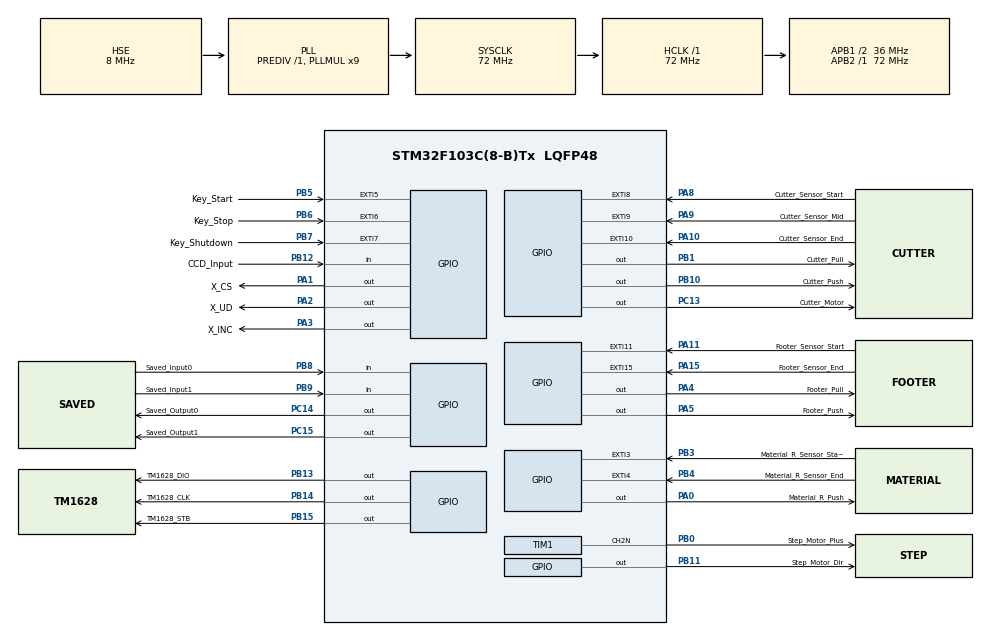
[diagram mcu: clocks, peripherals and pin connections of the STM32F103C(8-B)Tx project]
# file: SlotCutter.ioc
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FREERTOS.BinarySemaphores01=CCD_Binary,Dynamic,NULL;Key_Sensor_Binary,Dynamic,NULL;Key_KeyTask_Binary,Dynamic,NULL
FREERTOS.Mutexes01=CCD_Mutex,Dynamic,NULL
FREERTOS.Tasks01=LEDTask,0,128,StartLEDTask,Default,NULL,Dynamic,NULL,NULL;keyTask,-3,128,StartKeyTask,Default,NULL,Dynamic,NULL,NULL;stepMotoTask,-3,128,StartStepMotoTask,Default,NULL,Dynamic,NULL,NULL
Mcu.Family=STM32F1
Mcu.Name=STM32F103C(8-B)Tx
Mcu.Package=LQFP48
NVIC.EXTI15_10_IRQn=true\:5\:0\:false\:false\:true\:true\:true
NVIC.EXTI3_IRQn=true\:5\:0\:false\:false\:true\:true\:true
NVIC.EXTI4_IRQn=true\:5\:0\:false\:false\:true\:true\:true
NVIC.EXTI9_5_IRQn=true\:5\:0\:false\:false\:true\:true\:true
NVIC.PriorityGroup=NVIC_PRIORITYGROUP_4
NVIC.TIM1_CC_IRQn=true\:5\:0\:true\:false\:true\:true\:true
NVIC.TIM4_IRQn=true\:0\:0\:false\:false\:true\:false\:false
NVIC.TimeBase=TIM4_IRQn
NVIC.TimeBaseIP=TIM4
PA0-WKUP.GPIO_Label=Material_R_Push
PA0-WKUP.PinState=GPIO_PIN_RESET
PA0-WKUP.Signal=GPIO_Output
PA1.GPIO_Label=X_CS
PA1.Signal=GPIO_Output
PA10.GPIO_Label=Cutter_Sensor_End
PA10.GPIO_ModeDefaultEXTI=GPIO_MODE_IT_FALLING
PA10.GPIO_PuPd=GPIO_PULLUP
PA10.Signal=GPXTI10
PA11.GPIO_Label=Footer_Sensor_Start
PA11.GPIO_ModeDefaultEXTI=GPIO_MODE_IT_FALLING
PA11.GPIO_PuPd=GPIO_PULLUP
PA11.Signal=GPXTI11
PA13.Mode=Serial_Wire
PA13.Signal=SYS_JTMS-SWDIO
PA14.Mode=Serial_Wire
PA14.Signal=SYS_JTCK-SWCLK
PA15.GPIO_Label=Footer_Sensor_End
PA15.GPIO_ModeDefaultEXTI=GPIO_MODE_IT_FALLING
PA15.GPIO_PuPd=GPIO_PULLUP
PA15.Signal=GPXTI15
PA2.GPIO_Label=X_UD
PA2.Signal=GPIO_Output
PA3.GPIO_Label=X_INC
PA3.Signal=GPIO_Output
PA4.GPIO_Label=Footer_Pull
PA4.PinState=GPIO_PIN_RESET
PA4.Signal=GPIO_Output
PA5.GPIO_Label=Footer_Push
PA5.PinState=GPIO_PIN_RESET
PA5.Signal=GPIO_Output
PA8.GPIO_Label=Cutter_Sensor_Start
PA8.GPIO_ModeDefaultEXTI=GPIO_MODE_IT_FALLING
PA8.GPIO_PuPd=GPIO_PULLUP
PA8.Signal=GPXTI8
PA9.GPIO_Label=Cutter_Sensor_Mid
PA9.GPIO_PuPd=GPIO_PULLUP
PA9.Signal=GPXTI9
PB0.GPIO_Label=Step_Motor_Plus
PB0.Mode=Output Compare2 CH2N
PB0.Signal=TIM1_CH2N
PB1.GPIO_Label=Cutter_Pull
PB1.PinState=GPIO_PIN_RESET
PB1.Signal=GPIO_Output
PB10.GPIO_Label=Cutter_Push
PB10.Signal=GPIO_Output
PB11.GPIO_Label=Step_Motor_Dir
PB11.Signal=GPIO_Output
PB12.GPIO_Label=CCD_Input
PB12.GPIO_PuPd=GPIO_PULLUP
PB12.Signal=GPIO_Input
PB13.GPIO_Label=TM1628_DIO
PB13.Signal=GPIO_Output
PB14.GPIO_Label=TM1628_CLK
PB14.Signal=GPIO_Output
PB15.GPIO_Label=TM1628_STB
PB15.Signal=GPIO_Output
PB3.GPIO_Label=Material_R_Sensor_Start
PB3.GPIO_ModeDefaultEXTI=GPIO_MODE_IT_FALLING
PB3.GPIO_PuPd=GPIO_PULLUP
PB3.Signal=GPXTI3
PB4.GPIO_Label=Material_R_Sensor_End
PB4.GPIO_ModeDefaultEXTI=GPIO_MODE_IT_FALLING
PB4.GPIO_PuPd=GPIO_PULLUP
PB4.Signal=GPXTI4
PB5.GPIO_Label=Key_Start
PB5.GPIO_ModeDefaultEXTI=GPIO_MODE_IT_FALLING
PB5.GPIO_PuPd=GPIO_PULLUP
PB5.Signal=GPXTI5
PB6.GPIO_Label=Key_Stop
PB6.GPIO_ModeDefaultEXTI=GPIO_MODE_IT_FALLING
PB6.GPIO_PuPd=GPIO_PULLUP
PB6.Signal=GPXTI6
PB7.GPIO_Label=Key_Shutdown
PB7.GPIO_ModeDefaultEXTI=GPIO_MODE_IT_FALLING
PB7.GPIO_PuPd=GPIO_PULLUP
PB7.Signal=GPXTI7
PB8.GPIO_Label=Saved_Input0
PB8.Signal=GPIO_Input
PB9.GPIO_Label=Saved_Input1
PB9.Signal=GPIO_Input
PC13-TAMPER-RTC.GPIO_Label=Cutter_Motor
PC13-TAMPER-RTC.Signal=GPIO_Output
PC14-OSC32_IN.GPIO_Label=Saved_Output0
PC14-OSC32_IN.Signal=GPIO_Output
PC15-OSC32_OUT.GPIO_Label=Saved_Output1
PC15-OSC32_OUT.Signal=GPIO_Output
PD0-OSC_IN.Mode=HSE-External-Oscillator
PD0-OSC_IN.Signal=RCC_OSC_IN
PD1-OSC_OUT.Mode=HSE-External-Oscillator
PD1-OSC_OUT.Signal=RCC_OSC_OUT
ProjectManager.HeapSize=0x200
ProjectManager.StackSize=0x400
ProjectManager.TargetToolchain=MDK-ARM V5
RCC.AHBFreq_Value=72000000
RCC.APB1CLKDivider=RCC_HCLK_DIV2
RCC.APB1Freq_Value=36000000
RCC.APB1TimFreq_Value=72000000
RCC.APB2Freq_Value=72000000
RCC.APB2TimFreq_Value=72000000
RCC.HCLKFreq_Value=72000000
RCC.PLLMUL=RCC_PLL_MUL9
RCC.PLLSourceVirtual=RCC_PLLSOURCE_HSE
RCC.SYSCLKFreq_VALUE=72000000
RCC.SYSCLKSource=RCC_SYSCLKSOURCE_PLLCLK
RCC.USBFreq_Value=72000000
TIM1.Channel-Output\ Compare2\ CH2N=TIM_CHANNEL_2
TIM1.OCMode_2=TIM_OCMODE_TOGGLE
TIM1.Period=0xffff
TIM1.Prescaler=71
VP_FREERTOS_VS_ENABLE.Mode=Enabled
VP_SYS_VS_tim4.Mode=TIM4
VP_TIM1_VS_ClockSourceINT.Mode=Internal
board=SlotCutter

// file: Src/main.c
/**
  ******************************************************************************
  * @file           : main.c
  * @brief          : Main program body
  ******************************************************************************
  * This notice applies to any and all portions of this file
  * that are not between comment pairs USER CODE BEGIN and
  * USER CODE END. Other portions of this file, whether
  * inserted by the user or by software development tools
  * are owned by their respective copyright owners.
  *
  * Copyright (c) 2018 STMicroelectronics International N.V.
  * All rights reserved.
  *
  * Redistribution and use in source and binary forms, with or without
  * modification, are permitted, provided that the following conditions are met:
  *
  * 1. Redistribution of source code must retain the above copyright notice,
  *    this list of conditions and the following disclaimer.
  * 2. Redistributions in binary form must reproduce the above copyright notice,
  *    this list of conditions and the following disclaimer in the documentation
  *    and/or other materials provided with the distribution.
  * 3. Neither the name of STMicroelectronics nor the names of other
  *    contributors to this software may be used to endorse or promote products
  *    derived from this software without specific written permission.
  * 4. This software, including modifications and/or derivative works of this
  *    software, must execute solely and exclusively on microcontroller or
  *    microprocessor devices manufactured by or for STMicroelectronics.
  * 5. Redistribution and use of this software other than as permitted under
  *    this license is void and will automatically terminate your rights under
  *    this license.
  *
  * THIS SOFTWARE IS PROVIDED BY STMICROELECTRONICS AND CONTRIBUTORS "AS IS"
  * AND ANY EXPRESS, IMPLIED OR STATUTORY WARRANTIES, INCLUDING, BUT NOT
  * LIMITED TO, THE IMPLIED WARRANTIES OF MERCHANTABILITY, FITNESS FOR A
  * PARTICULAR PURPOSE AND NON-INFRINGEMENT OF THIRD PARTY INTELLECTUAL PROPERTY
  * RIGHTS ARE DISCLAIMED TO THE FULLEST EXTENT PERMITTED BY LAW. IN NO EVENT
  * SHALL STMICROELECTRONICS OR CONTRIBUTORS BE LIABLE FOR ANY DIRECT, INDIRECT,
  * INCIDENTAL, SPECIAL, EXEMPLARY, OR CONSEQUENTIAL DAMAGES (INCLUDING, BUT NOT
  * LIMITED TO, PROCUREMENT OF SUBSTITUTE GOODS OR SERVICES; LOSS OF USE, DATA,
  * OR PROFITS; OR BUSINESS INTERRUPTION) HOWEVER CAUSED AND ON ANY THEORY OF
  * LIABILITY, WHETHER IN CONTRACT, STRICT LIABILITY, OR TORT (INCLUDING
  * NEGLIGENCE OR OTHERWISE) ARISING IN ANY WAY OUT OF THE USE OF THIS SOFTWARE,
  * EVEN IF ADVISED OF THE POSSIBILITY OF SUCH DAMAGE.
  *
  ******************************************************************************
  */
#include "main.h"
#include "stm32f1xx_hal.h"
#include "cmsis_os.h"
#include "tim.h"
#include "gpio.h"

/* USER CODE BEGIN Includes */
#include "comm.h"
#include "HT1628.h"
/* USER CODE END Includes */

/* USER CODE BEGIN PV */
/* Private variables ---------------------------------------------------------*/
//��������
union SettingUnion Setting={0};

/* USER CODE END PV */

void SystemClock_Config(void);
void MX_FREERTOS_Init(void);

/* USER CODE BEGIN PFP */
/* Private function prototypes -----------------------------------------------*/

/* USER CODE END PFP */

int main(void)
{

  /* MCU Configuration----------------------------------------------------------*/

  /* Reset of all peripherals, Initializes the Flash interface and the Systick. */
  HAL_Init();

  /* Configure the system clock */
  SystemClock_Config();

  /* Initialize all configured peripherals */
  MX_GPIO_Init();
  MX_TIM1_Init();
  /* USER CODE BEGIN 2 */
	lint_val_display();
	X9C103_Init(1);
  /* USER CODE END 2 */

  /* Call init function for freertos objects (in freertos.c) */
  MX_FREERTOS_Init();

  /* Start scheduler */
  osKernelStart();

  /* We should never get here as control is now taken by the scheduler */

  /* Infinite loop */
  while (1)
  {

  }

}

void SystemClock_Config(void)
{

  RCC_OscInitTypeDef RCC_OscInitStruct;
  RCC_ClkInitTypeDef RCC_ClkInitStruct;

    /**Initializes the CPU, AHB and APB busses clocks
    */
  RCC_OscInitStruct.OscillatorType = RCC_OSCILLATORTYPE_HSE;
  RCC_OscInitStruct.HSEState = RCC_HSE_ON;
  RCC_OscInitStruct.HSEPredivValue = RCC_HSE_PREDIV_DIV1;
  RCC_OscInitStruct.HSIState = RCC_HSI_ON;
  RCC_OscInitStruct.PLL.PLLState = RCC_PLL_ON;
  RCC_OscInitStruct.PLL.PLLSource = RCC_PLLSOURCE_HSE;
  RCC_OscInitStruct.PLL.PLLMUL = RCC_PLL_MUL9;
  if (HAL_RCC_OscConfig(&RCC_OscInitStruct) != HAL_OK)
  {
    _Error_Handler(__FILE__, __LINE__);
  }

    /**Initializes the CPU, AHB and APB busses clocks
    */
  RCC_ClkInitStruct.ClockType = RCC_CLOCKTYPE_HCLK|RCC_CLOCKTYPE_SYSCLK
                              |RCC_CLOCKTYPE_PCLK1|RCC_CLOCKTYPE_PCLK2;
  RCC_ClkInitStruct.SYSCLKSource = RCC_SYSCLKSOURCE_PLLCLK;
  RCC_ClkInitStruct.AHBCLKDivider = RCC_SYSCLK_DIV1;
  RCC_ClkInitStruct.APB1CLKDivider = RCC_HCLK_DIV2;
  RCC_ClkInitStruct.APB2CLKDivider = RCC_HCLK_DIV1;

  if (HAL_RCC_ClockConfig(&RCC_ClkInitStruct, FLASH_LATENCY_2) != HAL_OK)
  {
    _Error_Handler(__FILE__, __LINE__);
  }

    /**Configure the Systick interrupt time
    */
  HAL_SYSTICK_Config(HAL_RCC_GetHCLKFreq()/1000);

    /**Configure the Systick
    */
  HAL_SYSTICK_CLKSourceConfig(SYSTICK_CLKSOURCE_HCLK);

  /* SysTick_IRQn interrupt configuration */
  HAL_NVIC_SetPriority(SysTick_IRQn, 15, 0);
}

void HAL_TIM_PeriodElapsedCallback(TIM_HandleTypeDef *htim)
{
  if (htim->Instance == TIM4) {
    HAL_IncTick();
  }
}

void _Error_Handler(char *file, int line)
{
  while(1)
  {
  }
}

/************************ (C) COPYRIGHT STMicroelectronics *****END OF FILE****/

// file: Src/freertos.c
/**
  ******************************************************************************
  * File Name          : freertos.c
  * Description        : Code for freertos applications
  ******************************************************************************
  * This notice applies to any and all portions of this file
  * that are not between comment pairs USER CODE BEGIN and
  * USER CODE END. Other portions of this file, whether
  * inserted by the user or by software development tools
  * are owned by their respective copyright owners.
  *
  * Copyright (c) 2018 STMicroelectronics International N.V.
  * All rights reserved.
  *
  * Redistribution and use in source and binary forms, with or without
  * modification, are permitted, provided that the following conditions are met:
  *
  * 1. Redistribution of source code must retain the above copyright notice,
  *    this list of conditions and the following disclaimer.
  * 2. Redistributions in binary form must reproduce the above copyright notice,
  *    this list of conditions and the following disclaimer in the documentation
  *    and/or other materials provided with the distribution.
  * 3. Neither the name of STMicroelectronics nor the names of other
  *    contributors to this software may be used to endorse or promote products
  *    derived from this software without specific written permission.
  * 4. This software, including modifications and/or derivative works of this
  *    software, must execute solely and exclusively on microcontroller or
  *    microprocessor devices manufactured by or for STMicroelectronics.
  * 5. Redistribution and use of this software other than as permitted under
  *    this license is void and will automatically terminate your rights under
  *    this license.
  *
  * THIS SOFTWARE IS PROVIDED BY STMICROELECTRONICS AND CONTRIBUTORS "AS IS"
  * AND ANY EXPRESS, IMPLIED OR STATUTORY WARRANTIES, INCLUDING, BUT NOT
  * LIMITED TO, THE IMPLIED WARRANTIES OF MERCHANTABILITY, FITNESS FOR A
  * PARTICULAR PURPOSE AND NON-INFRINGEMENT OF THIRD PARTY INTELLECTUAL PROPERTY
  * RIGHTS ARE DISCLAIMED TO THE FULLEST EXTENT PERMITTED BY LAW. IN NO EVENT
  * SHALL STMICROELECTRONICS OR CONTRIBUTORS BE LIABLE FOR ANY DIRECT, INDIRECT,
  * INCIDENTAL, SPECIAL, EXEMPLARY, OR CONSEQUENTIAL DAMAGES (INCLUDING, BUT NOT
  * LIMITED TO, PROCUREMENT OF SUBSTITUTE GOODS OR SERVICES; LOSS OF USE, DATA,
  * OR PROFITS; OR BUSINESS INTERRUPTION) HOWEVER CAUSED AND ON ANY THEORY OF
  * LIABILITY, WHETHER IN CONTRACT, STRICT LIABILITY, OR TORT (INCLUDING
  * NEGLIGENCE OR OTHERWISE) ARISING IN ANY WAY OUT OF THE USE OF THIS SOFTWARE,
  * EVEN IF ADVISED OF THE POSSIBILITY OF SUCH DAMAGE.
  *
  ******************************************************************************
  */

#include "FreeRTOS.h"
#include "task.h"
#include "cmsis_os.h"

/* USER CODE BEGIN Includes */
#include "HT1628.h"
#include "comm.h"
#include "key.h"
#include "stm_flash.h"
#include "tim.h"
#include "gpio.h"
#include "stepmoto.h"
/* USER CODE END Includes */

osThreadId LEDTaskHandle;
osThreadId keyTaskHandle;
osThreadId stepMotoTaskHandle;
osMutexId CCD_MutexHandle;
osSemaphoreId CCD_BinaryHandle;
osSemaphoreId Key_Sensor_BinaryHandle;
osSemaphoreId Key_KeyTask_BinaryHandle;

/* USER CODE BEGIN Variables */
osThreadId backTask1Handle;
osThreadId backTask2Handle;
osThreadId keyTaskHandle;
uint8_t moto_msg[2];
uint16_t motoTestPluse=0;
KEY_MSG_t keyGet ;
QueueHandle_t led_key_queue;
QueueHandle_t led_moto_queue;
uint8_t ledTaskStatus = STATUS_LED_INIT;
uint16_t mica = 0,cu = 0,mica_last=0;
uint32_t pluse_last;
uint8_t tempj=0,test_flag=0;
uint8_t pause_flag;
uint8_t backTask1Finish=0;
float per_pluse= 0.0;
uint8_t backTask2Finish=0;
uint8_t footer_flag=0,stop_flag=0;
uint8_t  feed_flag=0;
	uint8_t slot_count=0;
/* USER CODE END Variables */

void StartLEDTask(void const * argument);
void StartKeyTask(void const * argument);
void StartStepMotoTask(void const * argument);

void MX_FREERTOS_Init(void); /* (MISRA C 2004 rule 8.1) */

/* USER CODE BEGIN FunctionPrototypes */

void backTake1(void const * argument);
void backTake2(void const * argument);

void para_to_set(void);
void arg_read(void);
	//???????
	uint16_t decNumBit(uint16_t num,uint8_t bit);
	uint16_t incNumBit(uint16_t num,uint8_t bit);
	uint8_t wait_input(GPIO_TypeDef* GPIOx, uint16_t GPIO_Pin, GPIO_PinState PinState);
	uint8_t check_pass_onCut(uint16_t width);
		uint8_t check_pass_preCut(uint16_t width);
	uint16_t absi(int16_t i);
/* USER CODE END FunctionPrototypes */

/* Hook prototypes */

/* Init FreeRTOS */

void MX_FREERTOS_Init(void) {

  /* Create the mutex(es) */
  /* definition and creation of CCD_Mutex */
  osMutexDef(CCD_Mutex);
  CCD_MutexHandle = osMutexCreate(osMutex(CCD_Mutex));

  /* Create the semaphores(s) */
  /* definition and creation of CCD_Binary */
  osSemaphoreDef(CCD_Binary);
  CCD_BinaryHandle = osSemaphoreCreate(osSemaphore(CCD_Binary), 1);

  /* definition and creation of Key_Sensor_Binary */
  osSemaphoreDef(Key_Sensor_Binary);
  Key_Sensor_BinaryHandle = osSemaphoreCreate(osSemaphore(Key_Sensor_Binary), 1);

  /* definition and creation of Key_KeyTask_Binary */
  osSemaphoreDef(Key_KeyTask_Binary);
  Key_KeyTask_BinaryHandle = osSemaphoreCreate(osSemaphore(Key_KeyTask_Binary), 1);

  /* Create the thread(s) */
  /* definition and creation of LEDTask */
  osThreadDef(LEDTask, StartLEDTask, osPriorityNormal, 0, 128);
  LEDTaskHandle = osThreadCreate(osThread(LEDTask), NULL);

  /* definition and creation of keyTask */
  osThreadDef(keyTask, StartKeyTask, osPriorityIdle, 0, 32);
  keyTaskHandle = osThreadCreate(osThread(keyTask), NULL);

  /* definition and creation of stepMotoTask */
  osThreadDef(stepMotoTask, StartStepMotoTask, osPriorityIdle, 0, 32);
  stepMotoTaskHandle = osThreadCreate(osThread(stepMotoTask), NULL);

}

/* StartLEDTask function */
void StartLEDTask(void const * argument)
{

  /* USER CODE BEGIN StartLEDTask */

  /* Infinite loop */

	uint8_t funcNum = 0;
	uint8_t showIndex = 0;
	uint8_t lightFlag = 0;

	uint16_t temp_i = 0,temp_j_feed=0,temp_j = 0;
	uint32_t width = 0;

	lint_val_display();
	arg_read();
	led_key_queue= xQueueCreate(4, sizeof(KEY_MSG_t) );
	led_moto_queue= xQueueCreate(4, 2 );

  for(;;)
  {
	status_start:	switch(ledTaskStatus)
		{

			case STATUS_LED_INIT :
						clear();
						HT1621_dis_float(Setting.SettingStruct.slotNumber[INDEX_VALUE],0,Setting.SettingStruct.slotNumber[INDEX_SIZE],Setting.SettingStruct.slotNumber[INDEX_POINT]);
						HT1621_dis_float(Setting.SettingStruct.percentOfPassOnCut[INDEX_VALUE],3,Setting.SettingStruct.percentOfPassOnCut[INDEX_SIZE],Setting.SettingStruct.percentOfPassOnCut[INDEX_POINT]);
						display();
						ledTaskStatus = STATUS_LED_IDLE;
				break;
			case STATUS_LED_IDLE :
						osDelay(1);
					if(HAL_GPIO_ReadPin(Key_Start_GPIO_Port,Key_Start_Pin)==GPIO_PIN_RESET)
						{
							osDelay(10);
							if(HAL_GPIO_ReadPin(Key_Start_GPIO_Port,Key_Start_Pin)==GPIO_PIN_RESET)
							{
								 ledTaskStatus = STATUS_MOTO_INIT;test_flag = 0;
							}
						}
					if(xQueueReceive( led_key_queue,&keyGet,pdMS_TO_TICKS(1000) )==pdPASS)
						{
							if(keyGet.key == Key_START && keyGet.status == KEY_HOLD)
							{
								ledTaskStatus = STATUS_LED_MOD_PARA;
							}
							if(keyGet.key == Key_R && keyGet.status == KEY_HOLD)
							{
								ledTaskStatus = STATUS_FOOTER;
							}
							if(keyGet.key == Key_START && keyGet.status == KEY_UP)
							{
								//????
								 HT1621_dis_point(5,1);	display();
								 while(1)
								 {
									 xQueueReceive( led_key_queue,&keyGet,portMAX_DELAY);
									 if(keyGet.key == Key_FUN && keyGet.status == KEY_UP)
										{
											//??????2
											test_flag = 1;
											 switch(Setting.SettingStruct.millingMethod[INDEX_VALUE])
											 {
												 case 0:ledTaskStatus = STATUS_MOTO_RUN_MODE0;
													 break;
												 case 1:ledTaskStatus = STATUS_MOTO_RUN_MODE1;
													 break;
												 case 2:ledTaskStatus = STATUS_MOTO_RUN_MODE2;
													 break;
												 case 3:ledTaskStatus = STATUS_MOTO_RUN_MODE3;
													 break;
												 default:break;
											 }
											clear();
											slot_count =0;
											pause_flag=0;
											break;
										}
										if(keyGet.key == Key_R && keyGet.status == KEY_UP)
										{
											//??????1
											slot_count =0;
											pause_flag=0;
											ledTaskStatus = STATUS_MOTO_TEST2;
											startMoto(INT32_MAX,0,1);
											break;
										}
										else if(keyGet.key == Key_START && keyGet.status == KEY_UP)
										{
											HT1621_dis_point(5,0);display();
											break;
										}
								 }
							}

						}
				break;

			case STATUS_FOOTER :

						if(footer_flag==0)
						{
							footer_flag =1;
							HAL_GPIO_WritePin(Footer_Pull_GPIO_Port, Footer_Pull_Pin, GPIO_PIN_RESET);
							HAL_GPIO_WritePin(Footer_Push_GPIO_Port, Footer_Push_Pin, GPIO_PIN_SET);//	?????(A5??,A4??)
							osDelay(Setting.SettingStruct.footerOnTime[INDEX_VALUE]*100);
							HAL_GPIO_WritePin(Footer_Push_GPIO_Port, Footer_Push_Pin, GPIO_PIN_RESET);
						}
						else
						{
							footer_flag=0;
							HAL_GPIO_WritePin(Footer_Pull_GPIO_Port, Footer_Pull_Pin, GPIO_PIN_SET);
							HAL_GPIO_WritePin(Footer_Push_GPIO_Port, Footer_Push_Pin, GPIO_PIN_RESET);//	????(A4??,A5??)
							osDelay(Setting.SettingStruct.footerExitTime[INDEX_VALUE]*100);
							HAL_GPIO_WritePin(Footer_Pull_GPIO_Port, Footer_Pull_Pin, GPIO_PIN_RESET);
						}
						ledTaskStatus = STATUS_LED_IDLE;
				break;
			case STATUS_LED_MOD_PARA :
						if(xQueueReceive( led_key_queue,&keyGet,pdMS_TO_TICKS(300) )==pdPASS)
							{
								if(keyGet.status == KEY_UP)
								{
									switch(keyGet.key)
									{
										case Key_START:
											funcNum++;
											showIndex = 0;
											if(funcNum>=20)
											{
												funcNum = 0;
											}
											break;
										case Key_R:
											showIndex++;
											if(showIndex>=Setting.SettingArray[funcNum][INDEX_SIZE])
											{
												showIndex=Setting.SettingArray[funcNum][INDEX_SIZE]-1;
											}
											break;
										case Key_L:
											if(showIndex>0)
											{
												showIndex--;
											}
											else
											{
												showIndex = 0;
											}
											break;
										case Key_UP:
													Setting.SettingArray[funcNum][INDEX_VALUE]=incNumBit(Setting.SettingArray[funcNum][INDEX_VALUE],Setting.SettingArray[funcNum][INDEX_SIZE]-showIndex);
													if(Setting.SettingArray[funcNum][INDEX_VALUE]>Setting.SettingArray[funcNum][INDEX_MAX])
													{
														Setting.SettingArray[funcNum][INDEX_VALUE]=Setting.SettingArray[funcNum][INDEX_MAX];
													}
												break;
										case Key_DOWN:
													Setting.SettingArray[funcNum][INDEX_VALUE]=decNumBit(Setting.SettingArray[funcNum][INDEX_VALUE],Setting.SettingArray[funcNum][INDEX_SIZE]-showIndex);
													if(Setting.SettingArray[funcNum][INDEX_VALUE]<Setting.SettingArray[funcNum][INDEX_MIN])
															{
																Setting.SettingArray[funcNum][INDEX_VALUE]=Setting.SettingArray[funcNum][INDEX_MIN];
															}
											break;
										case Key_STOP:
													ledTaskStatus = STATUS_LED_INIT;
													Setting.SettingStruct.micaPreTrace[INDEX_MAX] = (Setting.SettingStruct.plusNumberOfMoto[INDEX_VALUE]/Setting.SettingStruct.slotNumber[INDEX_VALUE])-
														Setting.SettingStruct.micaWidth[INDEX_VALUE];
													STMFLASH_Write( FLASH_BASE+60*1024, (uint16_t *) &Setting, sizeof(Setting)/2 );
													para_to_set();
												break;
									}
								}
							}
							clear();
							HT1621_dis_num(5,funcNum);
							if(funcNum == 0x0f)//????????
							{
								if(Setting.SettingStruct.compareThreshold[INDEX_VALUE]>=50)
								{
										HT1621_dis_num(0,SMG_NONE);
										HT1621_dis_float(Setting.SettingStruct.compareThreshold[INDEX_VALUE]-50,1,Setting.SettingStruct.compareThreshold[INDEX_SIZE],Setting.SettingStruct.compareThreshold[INDEX_POINT]);
								}
								else
								{
										HT1621_dis_num(0,SMG_NEG);
										HT1621_dis_float(50 - Setting.SettingStruct.compareThreshold[INDEX_VALUE],1,Setting.SettingStruct.compareThreshold[INDEX_SIZE],Setting.SettingStruct.compareThreshold[INDEX_POINT]);
								}
							}
							else
							{
									HT1621_dis_float(Setting.SettingArray[funcNum][INDEX_VALUE],0,Setting.SettingArray[funcNum][INDEX_SIZE],Setting.SettingArray[funcNum][INDEX_POINT]);
							}
							if(lightFlag == 0)
							{
								if(funcNum == 0x0f)
									HT1621_dis_num(showIndex+1,SMG_NONE);
								else
									HT1621_dis_num(showIndex,SMG_NONE);
								lightFlag = 1;
							}
							else
							{
								lightFlag = 0;
							}
							display();
				break;
			case STATUS_MOTO_INIT:
						 pause_flag=0;
						 slot_count=0;
							stop_flag=0;
						HAL_GPIO_WritePin(Cutter_Pull_GPIO_Port, Cutter_Pull_Pin, GPIO_PIN_SET);//(B10����?��??B1��1?��)
						if(footer_flag==0)
							{
							 footer_flag=1;
							 HAL_GPIO_WritePin(Footer_Pull_GPIO_Port, Footer_Pull_Pin, GPIO_PIN_RESET);
							 HAL_GPIO_WritePin(Footer_Push_GPIO_Port, Footer_Push_Pin, GPIO_PIN_SET);//	?????(A5??,A4??)
							}
							osDelay(Setting.SettingStruct.footerOnTime[INDEX_VALUE]*100);
							{

								//????
								if(pause_flag == 1)
								{
								  osDelay(100);
									while(1)
									{ xQueueReset(led_key_queue);
										xQueueReceive( led_key_queue,&keyGet,portMAX_DELAY );
										if(keyGet.key == Key_FUN && keyGet.status == KEY_UP)
											{	pause_flag =0;
												break;
											}
									}
								}
								//??????
								//osDelay(Setting.SettingStruct.feedDelayTime[INDEX_VALUE]*10);//????????
							 switch(Setting.SettingStruct.millingMethod[INDEX_VALUE])
							 {
								 case 0:ledTaskStatus = STATUS_MOTO_RUN_MODE0;
									 break;
								 case 1:ledTaskStatus = STATUS_MOTO_RUN_MODE1;
									 break;
								 case 2:ledTaskStatus = STATUS_MOTO_RUN_MODE2;
									 break;
								 case 3:ledTaskStatus = STATUS_MOTO_RUN_MODE3;
									 break;
								 default:break;
							 }
						 }
				break;
			case STATUS_MOTO_RUN_MODE0:
										width =0 ;
										mica=0;
										cu=0;
										startMoto(65534,0,1);
										if(wait_input(CCD_Input_GPIO_Port, CCD_Input_Pin, GPIO_PIN_SET)){goto status_start;};//??????(B12)
										if(test_flag==0)
										{
										 for(temp_i = 0 ,slot_count=0;slot_count<Setting.SettingStruct.slotNumber[INDEX_VALUE];slot_count++)
											{
												startMoto(65534,0,1);
												if(wait_input(CCD_Input_GPIO_Port, CCD_Input_Pin, GPIO_PIN_RESET)){goto status_start;};//??????(B12)
												width = (65534-stopMoto());
												startMoto(65534,0,1);
												while(get_moto_pluse_has()<Setting.SettingStruct.micaPreTrace[INDEX_VALUE]){osDelay(1);};//??????
												if(wait_input(CCD_Input_GPIO_Port, CCD_Input_Pin, GPIO_PIN_SET)){goto status_start;};//??????(B12)

												 if(check_pass_preCut(width)!=1)
													{
														temp_i = 0;
													}
													else
													{
														temp_i++;
														if(temp_i>=3)
														{
																break;
														}
													}
												//????
												if(pause_flag == 1)
												{
													osDelay(100);
													while(1)
													{ xQueueReset(led_key_queue);
														xQueueReceive( led_key_queue,&keyGet,portMAX_DELAY );
														if(keyGet.key == Key_FUN && keyGet.status == KEY_UP)
															{pause_flag =0;
																break;
															}

													}
												}
												//??????
											}
											if(slot_count == Setting.SettingStruct.slotNumber[INDEX_VALUE])
											{
												stopMoto();
												ledTaskStatus = STATUS_MOTO_ERR;
											}

										}
											slot_count =0 ;
											cut_nextmode4:
											//????
											if(pause_flag == 1)
												{
													osDelay(100);
													while(1)
													{ xQueueReset(led_key_queue);
														xQueueReceive( led_key_queue,&keyGet,portMAX_DELAY );
														if(keyGet.key == Key_FUN && keyGet.status == KEY_UP)
															{
																pause_flag =0;
																break;
															}
														if(keyGet.key == Key_STOP && keyGet.status == KEY_DOWN&&test_flag==1)
														{
															goto stop;
														}
													}
												}
												//??????

										HT1621_dis_float((uint32_t)absi(mica-mica_last) *100/(mica),3,3,0);mica_last = mica;
												//??????
											if(check_pass_onCut(width)==1)
												{
													//?
													//????
												 	runMoto(Setting.SettingStruct.motoCompensation[INDEX_VALUE],0,1);//??????(B0)
													if(test_flag==0)
													{
														HAL_GPIO_WritePin(Cutter_Pull_GPIO_Port, Cutter_Pull_Pin, GPIO_PIN_RESET);
														HAL_GPIO_WritePin(Cutter_Push_GPIO_Port, Cutter_Push_Pin, GPIO_PIN_SET);//????????(B10??,B1??)
														if(wait_input(Cutter_Sensor_End_GPIO_Port, Cutter_Sensor_End_Pin, GPIO_PIN_RESET)){goto status_start;};//???????(A10)
														HAL_GPIO_WritePin(Cutter_Pull_GPIO_Port, Cutter_Pull_Pin, GPIO_PIN_SET);
														HAL_GPIO_WritePin(Cutter_Push_GPIO_Port, Cutter_Push_Pin, GPIO_PIN_RESET);//???????(B10??,B1??)
														if(wait_input(Cutter_Sensor_Mid_GPIO_Port, Cutter_Sensor_Mid_Pin, GPIO_PIN_RESET)){goto status_start;};//?????(A9)
														HAL_GPIO_WritePin(Cutter_Pull_GPIO_Port, Cutter_Pull_Pin, GPIO_PIN_RESET);
													}
													else{
														HT1621_dis_point(5,1);
														osDelay(300);
													}
													HT1621_dis_float(Setting.SettingStruct.slotNumber[INDEX_VALUE]-slot_count,0,3,0);	display();
													if(slot_count == Setting.SettingStruct.slotNumber[INDEX_VALUE])						//?????????
															{//?
																	ledTaskStatus = STATUS_MOTO_OUT;
															}
															else{

																//????

																startMoto(INT32_MAX-1,0,1);
																if(wait_input(CCD_Input_GPIO_Port, CCD_Input_Pin, GPIO_PIN_RESET)){goto status_start;};;//?????(B12)
																mica = INT32_MAX-1-stopMoto();

																//????
																	startMoto(INT32_MAX-1,cu,1);
																	while(get_moto_pluse_has()<((Setting.SettingStruct.plusNumberOfMoto[INDEX_VALUE]/Setting.SettingStruct.slotNumber[INDEX_VALUE])-
																		Setting.SettingStruct.micaWidth[INDEX_VALUE]-Setting.SettingStruct.micaPreTrace[INDEX_VALUE])){osDelay(1);};//??????
																while(HAL_GPIO_ReadPin(CCD_Input_GPIO_Port,CCD_Input_Pin)!=GPIO_PIN_SET)
																{
																	osDelay(1);
																	if(pause_flag == 1)
																		{stopMoto();
																			osDelay(100);
																			while(1)
																			{ xQueueReset(led_key_queue);
																				xQueueReceive( led_key_queue,&keyGet,portMAX_DELAY );
																				if(keyGet.key == Key_FUN && keyGet.status == KEY_UP)
																					{
																						pause_flag=0;
																						continueMoto();
																						break;
																					}
																				if(keyGet.key == Key_STOP && keyGet.status == KEY_DOWN&&test_flag==1)
																				{
																					goto stop;
																				}
																			}
																		}
																}
																cu = INT32_MAX-1-stopMoto();
																width = mica+Setting.SettingStruct.motoCompensation[INDEX_VALUE];
																slot_count++;
																goto cut_nextmode4;
															}

												}
												else{
															//???
															stopMoto();
															ledTaskStatus = STATUS_MOTO_ERR;
													}
									 break;
			case STATUS_MOTO_RUN_MODE1:
									width =0 ;
									mica=0;
									cu=0;
									startMoto(65534,0,1);
									if(wait_input(CCD_Input_GPIO_Port, CCD_Input_Pin, GPIO_PIN_RESET)){goto status_start;};//??????(B12)
									if(test_flag==0)
										{
										 for(temp_i = 0 ,slot_count=0;slot_count<Setting.SettingStruct.slotNumber[INDEX_VALUE];slot_count++)
											{
												startMoto(65534,0,1);
												while(get_moto_pluse_has()<Setting.SettingStruct.micaPreTrace[INDEX_VALUE]){osDelay(1);};//??????
												if(wait_input(CCD_Input_GPIO_Port, CCD_Input_Pin, GPIO_PIN_SET)){goto status_start;};//??????(B12)
												startMoto(65534,0,1);
												if(wait_input(CCD_Input_GPIO_Port, CCD_Input_Pin, GPIO_PIN_RESET)){goto status_start;};//??????(B12)
												width = (65534-stopMoto());
												 if(check_pass_preCut(width)!=1)
													{
														temp_i = 0;
													}
													else
													{
														temp_i++;
														if(temp_i>=3)
														{
																break;
														}
													}
												//????
												if(pause_flag == 1)
												{
													osDelay(100);
													while(1)
													{ xQueueReset(led_key_queue);
														xQueueReceive( led_key_queue,&keyGet,portMAX_DELAY );
														if(keyGet.key == Key_FUN && keyGet.status == KEY_UP)
															{pause_flag =0;
																break;
															}

													}
												}
												//??????
											}
											if(slot_count == Setting.SettingStruct.slotNumber[INDEX_VALUE])
											{
												stopMoto();
												ledTaskStatus = STATUS_MOTO_ERR;
											}
											else {
											slot_count=0;
											}

										}
							cut_next:
							//????
							if(pause_flag == 1)
								{
									osDelay(100);
									while(1)
									{ xQueueReset(led_key_queue);
										xQueueReceive( led_key_queue,&keyGet,portMAX_DELAY );
										if(keyGet.key == Key_FUN && keyGet.status == KEY_UP)
											{
												pause_flag =0;
												break;
											}
											if(keyGet.key == Key_STOP && keyGet.status == KEY_UP&&test_flag==1)
														{
															goto stop;
														}
									}
								}
								//??????

						HT1621_dis_float((uint32_t)absi(mica-mica_last) *100/(mica),3,3,0);mica_last = mica;
								//??????
							if(check_pass_onCut(width)==1)
								{
									//?
									//???????
									osDelay(Setting.SettingStruct.mode0DirSwitchTime[INDEX_VALUE]*10);
									runMoto(width/2,0,0);//??????(B0)
									if(test_flag==0)
									{
										HAL_GPIO_WritePin(Cutter_Pull_GPIO_Port, Cutter_Pull_Pin, GPIO_PIN_RESET);
										HAL_GPIO_WritePin(Cutter_Push_GPIO_Port, Cutter_Push_Pin, GPIO_PIN_SET);//????????(B10??,B1??)
										if(wait_input(Cutter_Sensor_End_GPIO_Port, Cutter_Sensor_End_Pin, GPIO_PIN_RESET)){goto status_start;};//???????(A10)
										HAL_GPIO_WritePin(Cutter_Pull_GPIO_Port, Cutter_Pull_Pin, GPIO_PIN_SET);
										HAL_GPIO_WritePin(Cutter_Push_GPIO_Port, Cutter_Push_Pin, GPIO_PIN_RESET);//???????(B10??,B1??)
										if(wait_input(Cutter_Sensor_Mid_GPIO_Port, Cutter_Sensor_Mid_Pin, GPIO_PIN_RESET)){goto status_start;};//?????(A9)
										HAL_GPIO_WritePin(Cutter_Pull_GPIO_Port, Cutter_Pull_Pin, GPIO_PIN_RESET);
									}
									else{
										HT1621_dis_point(5,1);
										osDelay(300);
									}

									if(slot_count == Setting.SettingStruct.slotNumber[INDEX_VALUE])										//?????????
											{//?
													ledTaskStatus = STATUS_MOTO_OUT;
											}
											else{
												//??

													startMoto(INT32_MAX-1,0,1);
													if(wait_input(CCD_Input_GPIO_Port, CCD_Input_Pin, GPIO_PIN_RESET)){goto status_start;};//??????(B12)
													//????
													startMoto(INT32_MAX-1,cu,1);
													while(get_moto_pluse_has()<((Setting.SettingStruct.plusNumberOfMoto[INDEX_VALUE]/Setting.SettingStruct.slotNumber[INDEX_VALUE])-
														Setting.SettingStruct.micaWidth[INDEX_VALUE]-Setting.SettingStruct.micaPreTrace[INDEX_VALUE])){osDelay(1);};//??????
													if(wait_input(CCD_Input_GPIO_Port, CCD_Input_Pin, GPIO_PIN_SET)){goto status_start;};//??????(B12)
													cu = INT32_MAX-1-stopMoto();

													//????
													startMoto(INT32_MAX-1,0,1);
													while(HAL_GPIO_ReadPin(CCD_Input_GPIO_Port,CCD_Input_Pin)!=GPIO_PIN_RESET)
													{
														osDelay(1);
																		if(pause_flag == 1)
																			{
																				pause_flag =0;
																				osDelay(100);
																				stopMoto();
																				while(1)
																				{ xQueueReset(led_key_queue);
																					xQueueReceive( led_key_queue,&keyGet,portMAX_DELAY );
																					if(keyGet.key == Key_FUN && keyGet.status == KEY_UP)
																						{
																							pause_flag=0;
																							continueMoto();
																							break;
																						}
																							if(keyGet.key == Key_STOP && keyGet.status == KEY_DOWN&&test_flag==1)
																					{
																						goto stop;
																					}
																				}
																			}
													}
													mica = INT32_MAX-1-stopMoto();

													width = mica;
													HT1621_dis_float(Setting.SettingStruct.slotNumber[INDEX_VALUE]-slot_count,0,3,0);	display();
												slot_count++;
												goto cut_next;
											}

								}
								else{
											//???
											stopMoto();
											ledTaskStatus = STATUS_MOTO_ERR;
									}
				break;

			case STATUS_MOTO_RUN_MODE3:
							startMoto(65534,0,1);//??????(B0)
							if(wait_input(CCD_Input_GPIO_Port, CCD_Input_Pin, GPIO_PIN_RESET)){goto status_start;};;//??????(B12)
							startMoto(65534,0,1);//??????(B0)
							while(get_moto_pluse_has()<Setting.SettingStruct.micaPreTrace[INDEX_VALUE]){osDelay(1);};//??????
							if(wait_input(CCD_Input_GPIO_Port, CCD_Input_Pin, GPIO_PIN_SET)){goto status_start;};;//??????(B12)
							startMoto(65534,0,1);//??????(B0)
							if(wait_input(CCD_Input_GPIO_Port, CCD_Input_Pin, GPIO_PIN_RESET)){goto status_start;};;//??????(B12)
							width = (65534-stopMoto());
											//????
								if(pause_flag == 1)
								{
									osDelay(100);
									while(1)
									{ xQueueReset(led_key_queue);
										xQueueReceive( led_key_queue,&keyGet,portMAX_DELAY );
										if(keyGet.key == Key_FUN && keyGet.status == KEY_UP)
											{pause_flag =0;
												break;
											}
									}
								}
								//??????
								//??????
							if(check_pass_onCut(width)==1)
								{
									//????
									runMoto(Setting.SettingStruct.motoCompensation[INDEX_VALUE],0,1);//??????(B0)
									slot_count =0;
									per_pluse=(float)Setting.SettingStruct.plusNumberOfMoto[INDEX_VALUE]/Setting.SettingStruct.slotNumber[INDEX_VALUE];
								  startMoto(Setting.SettingStruct.plusNumberOfMoto[INDEX_VALUE],0,1);
									stopMoto();
									while(get_moto_pluse())
									{
										 //????
										if(pause_flag == 1)
										{
											osDelay(100);
											while(1)
												{ xQueueReset(led_key_queue);
													xQueueReceive( led_key_queue,&keyGet,portMAX_DELAY );
													 if(keyGet.key == Key_FUN && keyGet.status == KEY_UP)
													{
														pause_flag =0;
														break;
													}
													if(keyGet.key == Key_STOP && keyGet.status == KEY_DOWN)
														{
															goto stop;
														}
											}
										}
										//??????

										if(test_flag==0)
										{
											HAL_GPIO_WritePin(Cutter_Pull_GPIO_Port, Cutter_Pull_Pin, GPIO_PIN_RESET);
											HAL_GPIO_WritePin(Cutter_Push_GPIO_Port, Cutter_Push_Pin, GPIO_PIN_SET);//????????(B10??,B1??)
											if(wait_input(Cutter_Sensor_End_GPIO_Port, Cutter_Sensor_End_Pin, GPIO_PIN_RESET)){goto status_start;};//???????(A10)
											HAL_GPIO_WritePin(Cutter_Pull_GPIO_Port, Cutter_Pull_Pin, GPIO_PIN_SET);
											HAL_GPIO_WritePin(Cutter_Push_GPIO_Port, Cutter_Push_Pin, GPIO_PIN_RESET);//???????(B10??,B1??)
											if(wait_input(Cutter_Sensor_Mid_GPIO_Port, Cutter_Sensor_Mid_Pin, GPIO_PIN_RESET)){goto status_start;};//?????(A9)
											HAL_GPIO_WritePin(Cutter_Pull_GPIO_Port, Cutter_Pull_Pin, GPIO_PIN_RESET);
										}
										else
										{
											HT1621_dis_point(5,1);
											osDelay(300);
										}
										set_slope((uint32_t)per_pluse);
									  continueMoto();
										slot_count++;
										while((Setting.SettingStruct.plusNumberOfMoto[INDEX_VALUE]-get_moto_pluse())<per_pluse*slot_count)
										{
											if(get_moto_pluse()==0||slot_count == Setting.SettingStruct.slotNumber[INDEX_VALUE])
												break;
											osDelay(1);
										}

										stopMoto();
										HT1621_dis_float(Setting.SettingStruct.slotNumber[INDEX_VALUE]-slot_count+1,0,3,0);	display();
									}
									stopMoto();
									ledTaskStatus = STATUS_MOTO_OUT;

								}
							else
								{	//???
									stopMoto();
									ledTaskStatus = STATUS_MOTO_ERR;
									}
				break;
			case STATUS_MOTO_RUN_MODE2:
									per_pluse=(float)Setting.SettingStruct.plusNumberOfMoto[INDEX_VALUE]/Setting.SettingStruct.slotNumber[INDEX_VALUE];
								  startMoto(Setting.SettingStruct.plusNumberOfMoto[INDEX_VALUE],0,1);
									stopMoto();
									while(get_moto_pluse())
									{
											//????
											if(pause_flag == 1)
											{
												osDelay(100);
												while(1)
												{ xQueueReset(led_key_queue);
													xQueueReceive( led_key_queue,&keyGet,portMAX_DELAY );

													if(keyGet.key == Key_FUN && keyGet.status == KEY_UP)
														{pause_flag =0;
															break;
														}
													if(keyGet.key == Key_STOP && keyGet.status == KEY_DOWN)
														{
															goto stop;
														}
												}
											}
											//??????

										if(test_flag==0)
										{
											HAL_GPIO_WritePin(Cutter_Pull_GPIO_Port, Cutter_Pull_Pin, GPIO_PIN_RESET);
											HAL_GPIO_WritePin(Cutter_Push_GPIO_Port, Cutter_Push_Pin, GPIO_PIN_SET);//????????(B10??,B1??)
											if(wait_input(Cutter_Sensor_End_GPIO_Port, Cutter_Sensor_End_Pin, GPIO_PIN_RESET)){goto status_start;}//???????(A10)
											HAL_GPIO_WritePin(Cutter_Pull_GPIO_Port, Cutter_Pull_Pin, GPIO_PIN_SET);
											HAL_GPIO_WritePin(Cutter_Push_GPIO_Port, Cutter_Push_Pin, GPIO_PIN_RESET);//???????(B10??,B1??)
											if(wait_input(Cutter_Sensor_Mid_GPIO_Port, Cutter_Sensor_Mid_Pin, GPIO_PIN_RESET)){goto status_start;};//?????(A9)
											HAL_GPIO_WritePin(Cutter_Pull_GPIO_Port, Cutter_Pull_Pin, GPIO_PIN_RESET);
										}
										else
										{
											HT1621_dis_point(5,1);
											osDelay(300);
										}

											set_slope((uint32_t)per_pluse);
										continueMoto();
										slot_count++;
										while((Setting.SettingStruct.plusNumberOfMoto[INDEX_VALUE]-get_moto_pluse())<=per_pluse*slot_count)
										{
												if(get_moto_pluse()==0||slot_count == Setting.SettingStruct.slotNumber[INDEX_VALUE])
												break;
											osDelay(1);
										}
										stopMoto();
										HT1621_dis_float(Setting.SettingStruct.slotNumber[INDEX_VALUE]-slot_count+1,0,3,0);	display();
									}
							stopMoto();
							ledTaskStatus = STATUS_MOTO_OUT;

				break;

			case STATUS_MOTO_OUT:

							if(test_flag==1)
							{
								ledTaskStatus = STATUS_LED_INIT;
								break;
							}

							HAL_GPIO_WritePin(Cutter_Pull_GPIO_Port, Cutter_Pull_Pin, GPIO_PIN_SET);
							HAL_GPIO_WritePin(Cutter_Push_GPIO_Port, Cutter_Push_Pin, GPIO_PIN_RESET);//???????(B10??,B1??)
							wait_input(Cutter_Sensor_Mid_GPIO_Port, Cutter_Sensor_Mid_Pin, GPIO_PIN_RESET);
							wait_input(Cutter_Sensor_Start_GPIO_Port, Cutter_Sensor_Start_Pin, GPIO_PIN_RESET);//?????(A8)
							HAL_GPIO_WritePin(Cutter_Pull_GPIO_Port, Cutter_Pull_Pin, GPIO_PIN_RESET);
							temp_i = 0,temp_j_feed=0,temp_j = 0;
							feed_flag = 0;
							backTask1Finish=0;
							backTask2Finish=0;
							while(backTask1Finish!=1 || backTask2Finish!=1)
							{
								if(temp_i==Setting.SettingStruct.footerDelayExitTime[INDEX_VALUE]*10)
								{
									HAL_GPIO_WritePin(Footer_Pull_GPIO_Port, Footer_Pull_Pin, GPIO_PIN_SET);
									HAL_GPIO_WritePin(Footer_Push_GPIO_Port, Footer_Push_Pin, GPIO_PIN_RESET);//???(A4??,A5??)
									footer_flag=0;
								}
								if(footer_flag==0)
								{
									temp_j++;
									if(temp_j==Setting.SettingStruct.footerExitTime[INDEX_VALUE]*10)
									{
									  HAL_GPIO_WritePin(Footer_Pull_GPIO_Port, Footer_Pull_Pin, GPIO_PIN_RESET);//A4??
										backTask1Finish=1;
									}
								}

								if(temp_i == Setting.SettingStruct.feedOnDelayTime[INDEX_VALUE])
								{
									feed_flag =1;
									HAL_GPIO_WritePin(Material_R_Push_GPIO_Port, Material_R_Push_Pin, GPIO_PIN_SET);	//??????(A0??)
								}
								if(feed_flag ==1 )
								{
									temp_j_feed++;
									if(temp_j_feed==Setting.SettingStruct.feedOnTime[INDEX_VALUE])
										{
											HAL_GPIO_WritePin(Material_R_Push_GPIO_Port, Material_R_Push_Pin, GPIO_PIN_RESET);//??????(A0???
											backTask2Finish=1;
										}
								}
								osDelay(10);
								temp_i++;
								if(HAL_GPIO_ReadPin(Key_Stop_GPIO_Port,Key_Stop_Pin)==GPIO_PIN_RESET)
								{
									stop_flag = 1;

								}
							}
							wait_input(Material_R_Sensor_Start_GPIO_Port, Material_R_Sensor_Start_Pin, GPIO_PIN_RESET);
							if(stop_flag==1)
							{
								ledTaskStatus = STATUS_MOTO_STOP;
							}
							else
							{
								ledTaskStatus = STATUS_MOTO_STOP;
							}

					break;
			case STATUS_MOTO_ERR:
							//?????E1
							clear();
							HAL_GPIO_WritePin(Footer_Pull_GPIO_Port, Footer_Pull_Pin, GPIO_PIN_RESET);
							HAL_GPIO_WritePin(Footer_Push_GPIO_Port, Footer_Push_Pin, GPIO_PIN_RESET);
							HAL_GPIO_WritePin(Material_R_Push_GPIO_Port, Material_R_Push_Pin, GPIO_PIN_RESET);
							HT1621_dis_num(1,0x0e);HT1621_dis_num(2,1);display();
							while(HAL_GPIO_ReadPin(Key_Stop_GPIO_Port,Key_Stop_Pin)==GPIO_PIN_SET);//???????(B6)
							while(HAL_GPIO_ReadPin(Key_Stop_GPIO_Port,Key_Stop_Pin)==GPIO_PIN_RESET);//???????(B6)
							HAL_GPIO_WritePin(Cutter_Pull_GPIO_Port, Cutter_Pull_Pin, GPIO_PIN_SET);
							HAL_GPIO_WritePin(Cutter_Push_GPIO_Port, Cutter_Push_Pin, GPIO_PIN_RESET);//???????(B10??,B1??)
							wait_input(Cutter_Sensor_Mid_GPIO_Port, Cutter_Sensor_Mid_Pin, GPIO_PIN_RESET);//(A9)
							wait_input(Cutter_Sensor_Start_GPIO_Port, Cutter_Sensor_Start_Pin, GPIO_PIN_RESET);//?????(A8)
							HAL_GPIO_WritePin(Cutter_Pull_GPIO_Port, Cutter_Pull_Pin, GPIO_PIN_RESET);
							HAL_GPIO_WritePin(Cutter_Push_GPIO_Port, Cutter_Push_Pin, GPIO_PIN_RESET);
							HAL_GPIO_WritePin(Footer_Pull_GPIO_Port, Footer_Pull_Pin, GPIO_PIN_RESET);
							HAL_GPIO_WritePin(Footer_Push_GPIO_Port, Footer_Push_Pin, GPIO_PIN_SET);//???(A4??,A5??)
							footer_flag =0 ;
							osDelay(Setting.SettingStruct.footerExitTime[INDEX_VALUE]*100);
							HAL_GPIO_WritePin(Footer_Push_GPIO_Port, Footer_Push_Pin, GPIO_PIN_RESET);
							HT1621_dis_float(Setting.SettingStruct.slotNumber[INDEX_VALUE],0,Setting.SettingStruct.slotNumber[INDEX_SIZE],Setting.SettingStruct.slotNumber[INDEX_POINT]);
							HT1621_dis_float(Setting.SettingStruct.percentOfPassOnCut[INDEX_VALUE],3,Setting.SettingStruct.percentOfPassOnCut[INDEX_SIZE],Setting.SettingStruct.percentOfPassOnCut[INDEX_POINT]);
							ledTaskStatus = STATUS_LED_INIT;
					break;
			case STATUS_MOTO_TEST://????

				 	ledTaskStatus = STATUS_LED_INIT;
				break;
			case STATUS_MOTO_TEST2://????

			fuck:	while(ledTaskStatus == STATUS_MOTO_TEST2)
						{
							pluse_last = Setting.SettingStruct.plusNumberOfMoto[INDEX_VALUE];
							//runMoto(100,0,1);
							startMoto(Setting.SettingStruct.plusNumberOfMoto[INDEX_VALUE],0,1);
							while(get_moto_pluse()>0)//??
								{

									//  ???
									while( HAL_GPIO_ReadPin(CCD_Input_GPIO_Port,CCD_Input_Pin)!=GPIO_PIN_RESET )
									{
										if(get_moto_pluse()==0)
													goto end_test2;
										xSemaphoreTake( Key_KeyTask_BinaryHandle,pdMS_TO_TICKS(1));
										if(xQueueReceive( led_key_queue,&keyGet,0 )==pdPASS)
										{
											if(keyGet.key == Key_STOP && keyGet.status == KEY_UP)
											{
												stopMoto();
												if(xQueueReceive( led_key_queue,&keyGet,portMAX_DELAY )==pdPASS)
												{
														if(keyGet.key == Key_STOP && keyGet.status == KEY_DOWN)
																	{
																		ledTaskStatus = STATUS_LED_INIT;
																		goto fuck;
																	}
																	else if(keyGet.key == Key_FUN && keyGet.status == KEY_DOWN)
																	{
																		continueMoto();
																	}
												}
											}
										}
//
									}

									mica = pluse_last-get_moto_pluse();
									pluse_last = get_moto_pluse();
									osDelay(1);
									//????
									while(HAL_GPIO_ReadPin(CCD_Input_GPIO_Port,CCD_Input_Pin)!=GPIO_PIN_SET)
									{
										if(get_moto_pluse()==0)
													goto end_test2;
										xSemaphoreTake( Key_KeyTask_BinaryHandle,pdMS_TO_TICKS(1));
										if(xQueueReceive( led_key_queue,&keyGet,0 )==pdPASS)
										{
											if(keyGet.key == Key_STOP && keyGet.status == KEY_UP)
											{
												stopMoto();
												if(xQueueReceive( led_key_queue,&keyGet,portMAX_DELAY )==pdPASS)
												{
													if(keyGet.key == Key_STOP && keyGet.status == KEY_DOWN)
														{
															ledTaskStatus = STATUS_LED_INIT;
															goto fuck;
														}
														else if(keyGet.key == Key_FUN && keyGet.status == KEY_DOWN)
														{
															continueMoto();
														}
												}
											}
										}
									}
									cu = pluse_last-get_moto_pluse();

									pluse_last = get_moto_pluse();
									osDelay(1);
//									stopMoto();
//									continueMoto();
									motoTestPluse++;
									if(pluse_last>0)
										HT1621_dis_float((uint32_t)mica*100/(cu+mica),3,3,0);
								  HT1621_dis_point(5,1);
									display();
								}
							end_test2:
								stopMoto();
								HT1621_dis_float(motoTestPluse,0,3,0);
								display();
 								motoTestPluse=0;
								osDelay(1000);
						}
						break;
			case STATUS_MOTO_STOP:
				stop:	if(test_flag==1)
							{
								ledTaskStatus = STATUS_LED_INIT;
								break;
							}
							HAL_GPIO_WritePin(Cutter_Pull_GPIO_Port, Cutter_Pull_Pin, GPIO_PIN_RESET);
							HAL_GPIO_WritePin(Cutter_Push_GPIO_Port, Cutter_Push_Pin, GPIO_PIN_RESET);
							HAL_GPIO_WritePin(Footer_Pull_GPIO_Port, Footer_Pull_Pin, GPIO_PIN_RESET);
							HAL_GPIO_WritePin(Footer_Push_GPIO_Port, Footer_Push_Pin, GPIO_PIN_RESET);
							HAL_GPIO_WritePin(Material_R_Push_GPIO_Port, Material_R_Push_Pin, GPIO_PIN_RESET);
						ledTaskStatus = STATUS_LED_INIT;
				break;
			default:break;

		}

	}
  /* USER CODE END StartLEDTask */
}

/* StartKeyTask function */
void StartKeyTask(void const * argument)
{
  /* USER CODE BEGIN StartKeyTask */

  /* Infinite loop */
  for(;;)
  {
		xSemaphoreTake( Key_Sensor_BinaryHandle ,pdMS_TO_TICKS(50));
		key_IRQHandler();
  }
  /* USER CODE END StartKeyTask */
}

/* StartStepMotoTask function */
void StartStepMotoTask(void const * argument)
{
  /* USER CODE BEGIN StartStepMotoTask */

  /* Infinite loop */
  for(;;)
  {
		//1ms????????
	//	speedCal();
		osDelay(1);
   }
  /* USER CODE END StartStepMotoTask */
}

/* USER CODE BEGIN Application */

//void backTake1(void const * argument)
//{
//  /* USER CODE BEGIN StartStepMotoTask */

//  /* Infinite loop */
//  for(;;)
//  {

// vTaskDelete(NULL);
//   }
//  /* USER CODE END StartStepMotoTask */
//}

void backTake2(void const * argument)
{
  /* USER CODE BEGIN StartStepMotoTask */

  /* Infinite loop */
  for(;;)
  {
		HAL_GPIO_WritePin(Material_R_Push_GPIO_Port, Material_R_Push_Pin, GPIO_PIN_SET);	//??????(A0??)
		osDelay(Setting.SettingStruct.feedOnTime[INDEX_VALUE]*10);
		HAL_GPIO_WritePin(Material_R_Push_GPIO_Port, Material_R_Push_Pin, GPIO_PIN_RESET);//??????(A0??)
		backTask2Finish=1;
		vTaskDelete(NULL);
   }
  /* USER CODE END StartStepMotoTask */
}

uint16_t absi(int16_t i)
{
	return i>0?i:-i;
}
//???????? ??????????????
uint8_t check_pass_preCut(uint16_t width)
{
	if(test_flag ==1)
		return 1;
	float widht_ratio =  Setting.SettingStruct.percentOfPassPreCut[INDEX_VALUE]/200.0;
	uint16_t widht_set = Setting.SettingStruct.micaWidth[INDEX_VALUE];
	if((width > widht_set*(1-widht_ratio)) && (width < widht_set*(1+widht_ratio)))
		return 1;
	else
		return 0;

}
//???????? ??????????????
uint8_t check_pass_onCut(uint16_t width)
{
	if(test_flag ==1)
		return 1;
	float widht_ratio = Setting.SettingStruct.percentOfPassOnCut[INDEX_VALUE]/200.0;
	uint16_t widht_set = Setting.SettingStruct.micaWidth[INDEX_VALUE];
	if((width > widht_set*(1-widht_ratio)) && (width < widht_set*(1+widht_ratio)))
		return 1;
	else
		return 0;

}
//???????? ????????1 ????????2 ??????0
uint8_t wait_input(GPIO_TypeDef* GPIOx, uint16_t GPIO_Pin, GPIO_PinState PinState)
{
	while(1)
	{

		osDelay(1);
		//if(xSemaphoreTake( Key_Sensor_BinaryHandle, pdMS_TO_TICKS(1))==pdPASS)
		{

			if(HAL_GPIO_ReadPin(Key_Stop_GPIO_Port,Key_Stop_Pin)==GPIO_PIN_RESET)
				{

					stop_flag = 1;
					if(ledTaskStatus != STATUS_MOTO_OUT)
					{
						ledTaskStatus = STATUS_MOTO_OUT;
						return 1;
					}
				}
			if(HAL_GPIO_ReadPin(GPIOx,GPIO_Pin)==PinState)
				{
					return 0;
				}
		}
	}
}

//???????
void para_to_set(void)
{
	//??
	setMotoSpeed(Setting.SettingStruct.stepMotoInitSpeed[INDEX_VALUE]);
	//????
	X9C103_Set(Setting.SettingStruct.compareThreshold[INDEX_VALUE]-50);

}

//???????
uint16_t decNumBit(uint16_t num,uint8_t bit)
{
	uint16_t power = 1;
	while(bit-1)
	{
		power*=10;
		bit--;
	}
	if(num>power)
		return num - power;
	else
		return 0;
}
//???????
uint16_t incNumBit(uint16_t num,uint8_t bit)
{
	uint16_t power = 1;
	while(bit-1)
	{
		power*=10;
		bit--;
	}
	return num + power;
}
	//?????? ?????????

	void arg_read(void)
	{
		STMFLASH_Read( FLASH_BASE+60*1024, (uint16_t *) &Setting, sizeof(Setting)/2 );           //????????????????
		if(Setting.SettingStruct.diameter[INDEX_VALUE]==0xffff)
			{
				Setting.SettingStruct.diameter[INDEX_VALUE] = 10;Setting.SettingStruct.diameter[INDEX_POINT] = 2;
				Setting.SettingStruct.footerExitTime[INDEX_VALUE] = 1;Setting.SettingStruct.footerExitTime[INDEX_POINT] = 1;
				Setting.SettingStruct.slotNumber[INDEX_VALUE] = 24;Setting.SettingStruct.slotNumber[INDEX_POINT] = 0;
				Setting.SettingStruct.micaWidth[INDEX_VALUE] = 15;Setting.SettingStruct.micaWidth[INDEX_POINT] = 0;
				Setting.SettingStruct.percentOfPassPreCut[INDEX_VALUE] = 100;Setting.SettingStruct.percentOfPassPreCut[INDEX_POINT] = 0;
				Setting.SettingStruct.motoCompensation[INDEX_VALUE] = 10;Setting.SettingStruct.motoCompensation[INDEX_POINT] = 0;
				Setting.SettingStruct.millingMethod[INDEX_VALUE] = 0;Setting.SettingStruct.millingMethod[INDEX_POINT] = 0;
				Setting.SettingStruct.motoDirection[INDEX_VALUE] = 0;Setting.SettingStruct.motoDirection[INDEX_POINT] = 0;
				Setting.SettingStruct.feedOnTime[INDEX_VALUE] = 1;Setting.SettingStruct.feedOnTime[INDEX_POINT] = 2;
				Setting.SettingStruct.feedOnDelayTime[INDEX_VALUE] = 1;Setting.SettingStruct.feedOnDelayTime[INDEX_POINT] = 2;
				Setting.SettingStruct.percentOfPassOnCut[INDEX_VALUE] = 150;Setting.SettingStruct.percentOfPassOnCut[INDEX_POINT] = 0;
				Setting.SettingStruct.footerOnTime[INDEX_VALUE] = 1;Setting.SettingStruct.footerOnTime[INDEX_POINT] = 1;
				Setting.SettingStruct.footerDelayExitTime[INDEX_VALUE] = 1;Setting.SettingStruct.footerDelayExitTime[INDEX_POINT] = 1;
				Setting.SettingStruct.plusNumberOfMoto[INDEX_VALUE] = 4000;Setting.SettingStruct.plusNumberOfMoto[INDEX_POINT] = 0;
				Setting.SettingStruct.mode0DirSwitchTime[INDEX_VALUE] = 20;Setting.SettingStruct.mode0DirSwitchTime[INDEX_POINT] = 2;
				Setting.SettingStruct.stepMotoInitSpeed[INDEX_VALUE] = 600;Setting.SettingStruct.stepMotoInitSpeed[INDEX_POINT] = 0;
				Setting.SettingStruct.stepMotoRunSpeed[INDEX_VALUE] = 1000;Setting.SettingStruct.stepMotoRunSpeed[INDEX_POINT] = 0;
				Setting.SettingStruct.compareThreshold[INDEX_VALUE] = 50;Setting.SettingStruct.compareThreshold[INDEX_POINT] = 1;
				Setting.SettingStruct.stepMotoFinishTime[INDEX_VALUE] = 1;Setting.SettingStruct.stepMotoFinishTime[INDEX_POINT] = 0;
				Setting.SettingStruct.micaPreTrace[INDEX_VALUE] = 1;Setting.SettingStruct.micaPreTrace[INDEX_POINT] = 0;

				Setting.SettingStruct.diameter[INDEX_MAX] = 800;Setting.SettingStruct.diameter[INDEX_MIN] = 10;
				Setting.SettingStruct.footerExitTime[INDEX_MAX] = 999;Setting.SettingStruct.footerExitTime[INDEX_MIN] = 0;
				Setting.SettingStruct.slotNumber[INDEX_MAX] = 256;Setting.SettingStruct.slotNumber[INDEX_MIN] = 3;
				Setting.SettingStruct.micaWidth[INDEX_MAX] = 800;Setting.SettingStruct.micaWidth[INDEX_MIN] = 5;
				Setting.SettingStruct.percentOfPassPreCut[INDEX_MAX] = 200;Setting.SettingStruct.percentOfPassPreCut[INDEX_MIN] = 0;
				Setting.SettingStruct.motoCompensation[INDEX_MAX] = 65000;Setting.SettingStruct.motoCompensation[INDEX_MIN] = 1;
				Setting.SettingStruct.millingMethod[INDEX_MAX] = 3;Setting.SettingStruct.millingMethod[INDEX_MIN] = 0;
				Setting.SettingStruct.motoDirection[INDEX_MAX] = 1;Setting.SettingStruct.motoDirection[INDEX_MIN] = 0;
				Setting.SettingStruct.feedOnTime[INDEX_MAX] = 900;Setting.SettingStruct.feedOnTime[INDEX_MIN] = 1;
				Setting.SettingStruct.feedOnDelayTime[INDEX_MAX] = 900;Setting.SettingStruct.feedOnDelayTime[INDEX_MIN] = 1;
				Setting.SettingStruct.percentOfPassOnCut[INDEX_MAX] = 200;Setting.SettingStruct.percentOfPassOnCut[INDEX_MIN] = 0;
				Setting.SettingStruct.footerOnTime[INDEX_MAX] = 900;Setting.SettingStruct.footerOnTime[INDEX_MIN] = 1;
				Setting.SettingStruct.footerDelayExitTime[INDEX_MAX] = 900;Setting.SettingStruct.footerDelayExitTime[INDEX_MIN] = 1;
				Setting.SettingStruct.plusNumberOfMoto[INDEX_MAX] = 65000;Setting.SettingStruct.plusNumberOfMoto[INDEX_MIN] = 1000;
				Setting.SettingStruct.mode0DirSwitchTime[INDEX_MAX] = 900;Setting.SettingStruct.mode0DirSwitchTime[INDEX_MIN] = 1;
				Setting.SettingStruct.stepMotoInitSpeed[INDEX_MAX] = 65000;Setting.SettingStruct.stepMotoInitSpeed[INDEX_MIN] = 600;
				Setting.SettingStruct.stepMotoRunSpeed[INDEX_MAX] = 65000;Setting.SettingStruct.stepMotoRunSpeed[INDEX_MIN] = 600;
				Setting.SettingStruct.compareThreshold[INDEX_MAX] = 100;Setting.SettingStruct.compareThreshold[INDEX_MIN] = 0;
				Setting.SettingStruct.stepMotoFinishTime[INDEX_MAX] = 65000;Setting.SettingStruct.stepMotoFinishTime[INDEX_MIN] = 0;
				Setting.SettingStruct.micaPreTrace[INDEX_MAX] = (Setting.SettingStruct.plusNumberOfMoto[INDEX_VALUE]/Setting.SettingStruct.slotNumber[INDEX_VALUE])-
														Setting.SettingStruct.micaWidth[INDEX_VALUE];
														Setting.SettingStruct.micaPreTrace[INDEX_MIN] = 0;
				Setting.SettingStruct.diameter[INDEX_SIZE] = 3;
				Setting.SettingStruct.footerExitTime[INDEX_SIZE] = 2;
				Setting.SettingStruct.slotNumber[INDEX_SIZE] = 3;
				Setting.SettingStruct.micaWidth[INDEX_SIZE] = 3;
				Setting.SettingStruct.percentOfPassPreCut[INDEX_SIZE] = 3;
				Setting.SettingStruct.motoCompensation[INDEX_SIZE] = 5;
				Setting.SettingStruct.millingMethod[INDEX_SIZE] = 1;
				Setting.SettingStruct.motoDirection[INDEX_SIZE] = 1;
				Setting.SettingStruct.feedOnTime[INDEX_SIZE] = 3;
				Setting.SettingStruct.feedOnDelayTime[INDEX_SIZE] = 3;
				Setting.SettingStruct.percentOfPassOnCut[INDEX_SIZE] = 3;
				Setting.SettingStruct.footerOnTime[INDEX_SIZE] = 2;
				Setting.SettingStruct.footerDelayExitTime[INDEX_SIZE] = 2;
				Setting.SettingStruct.plusNumberOfMoto[INDEX_SIZE] = 5;
				Setting.SettingStruct.mode0DirSwitchTime[INDEX_SIZE] = 3;
				Setting.SettingStruct.stepMotoInitSpeed[INDEX_SIZE] = 5;
				Setting.SettingStruct.stepMotoRunSpeed[INDEX_SIZE] = 5;
				Setting.SettingStruct.compareThreshold[INDEX_SIZE] = 2;
				Setting.SettingStruct.stepMotoFinishTime[INDEX_SIZE] = 4;
				Setting.SettingStruct.micaPreTrace[INDEX_SIZE] = 3;
				STMFLASH_Write( FLASH_BASE+60*1024, (uint16_t *) &Setting, sizeof(Setting)/2 );
			}
			para_to_set();
	}
//???'2??��????
/* USER CODE END Application */

/************************ (C) COPYRIGHT STMicroelectronics *****END OF FILE****/
